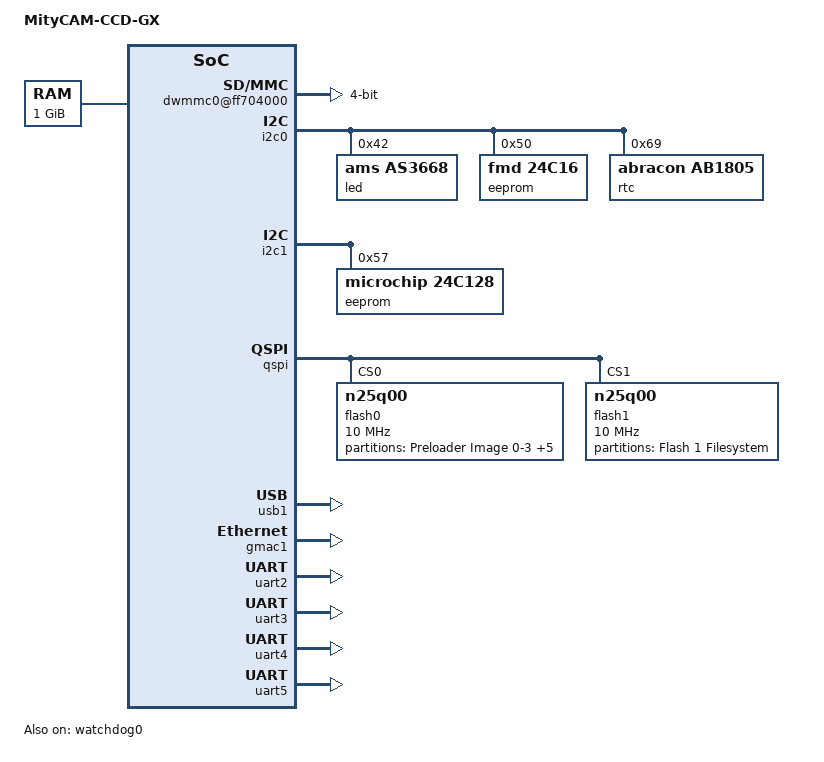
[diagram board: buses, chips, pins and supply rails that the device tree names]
/*
 *  Copyright (C) 2012 Altera Corporation <www.altera.com>
 *
 * This program is free software; you can redistribute it and/or modify
 * it under the terms of the GNU General Public License as published by
 * the Free Software Foundation; either version 2 of the License, or
 * (at your option) any later version.
 *
 * This program is distributed in the hope that it will be useful,
 * but WITHOUT ANY WARRANTY; without even the implied warranty of
 * MERCHANTABILITY or FITNESS FOR A PARTICULAR PURPOSE.  See the
 * GNU General Public License for more details.
 *
 * You should have received a copy of the GNU General Public License
 * along with this program.  If not, see <http://www.gnu.org/licenses/>.
 */

/dts-v1/;
#include "socfpga.dtsi"
#include <dt-bindings/interrupt-controller/irq.h>

/ {
	model = "MityCAM-CCD-GX";
	compatible = "cl,mitycam-battelle-g2", "altr,socfpga-cyclone5", "altr,socfpga";

	chosen {
		bootargs = "console=ttyS0,115200 root=/dev/mmcblk0p2 rw rootwait";
	};

	memory {
		name = "memory";
		device_type = "memory";
		reg = <0x0 0x40000000>; /* 1 GB */
	};

	aliases {
		/* this allow the ethaddr uboot environmnet variable contents
		 * to be added to the gmac1 device tree blob.
		 */
		ethernet0 = &gmac1;
	};

	soc {
		clkmgr@ffd04000 {
			clocks {
				osc1 {
					clock-frequency = <25000000>;
				};
			};
		};

		dwmmc0@ff704000 {
			num-slots = <1>;
			supports-highspeed;
			broken-cd;
			altr,dw-mshc-ciu-div = <3>;
			altr,dw-mshc-sdr-timing = <0 3>;
			bus-width = <4>;
			status = "okay";
		};

		i2c0: i2c@ffc04000 {
			speed-mode = <0>;
			status = "okay";
		};

		i2c1: i2c@ffc05000 {
			speed-mode = <0>;
			status = "okay";
		};

		qspi: spi@ff705000 {
			compatible = "cadence,qspi";
                        #address-cells = <1>;
			#size-cells = <0>;
			reg = <0xff705000 0x1000>,
				<0xffa00000 0x1000>;
			interrupts = <0 151 4>;
			master-ref-clk = <400000000>;
			ext-decoder = <0>;  /* external decoder */
			num-chipselect = <4>;
			fifo-depth = <128>;
			bus-num = <2>;

			flash0: n25q00@0 {
				#address-cells = <1>;
				#size-cells = <1>;
				compatible = "n25q00";
				reg = <0>;      /* chip select */
				spi-max-frequency = <10000000>;
				m25p,fast-read;
				page-size = <256>;
				block-size = <16>; /* 2^16, 64KB */
				read-delay = <4>;  /* delay value in read data capture register */
				tshsl-ns = <50>;
				tsd2d-ns = <50>;
				tchsh-ns = <4>;
				tslch-ns = <4>;

				partition@qspi-preloader {
					/* 64 KB for preloader image 0-3. */
					label = "Preloader Image 0-3";
					reg = <0x0 0x40000>;
				};
				partition@qspi-ubootenv {
					/* 64 KB for u-Boot Env. */
					label = "U-Boot Env";
					reg = <0x40000 0x10000>;
				};
				partition@qspi-dtb {
					/* 64 KB for DTB */
					label = "DTB";
					reg = <0x50000 0x10000>;
				};
				partition@qspi-uboot {
					/* 512 KB for U-Boot */
					label = "U-Boot";
					reg = <0x60000 0x80000>;
				};
				partition@qspi-kernel {
					/* 8 MB for Kernel */
					label = "Kernel";
					reg = <0xE0000 0x800000>;
				};
				partition@qspi-rootfs {
					/* 7.125 MB for jffs2 data. */
					label = "Flash 0 jffs2 Filesystem";
					reg = <0x8E0000 0x720000>;
				};
			};

			flash1: n25q00@1 {
				#address-cells = <1>;
				#size-cells = <1>;
				compatible = "n25q00";
				reg = <1>;      /* chip select */
				spi-max-frequency = <10000000>;
				m25p,fast-read;
				page-size = <256>;
				block-size = <16>; /* 2^16, 64KB */
				read-delay = <4>;  /* delay value in read data capture register */
				tshsl-ns = <50>;
				tsd2d-ns = <50>;
				tchsh-ns = <4>;
				tslch-ns = <4>;

				partition@0 {
					/* 16MB for raw data. */
					label = "Flash 1 Filesystem";
					reg = <0x0 0x1000000>;
				};
			};
		};

		timer0@ffc08000 {
			clock-frequency = <100000000>;
		};

		timer1@ffc09000 {
			clock-frequency = <100000000>;
		};

		timer2@ffd00000 {
			clock-frequency = <25000000>;
		};

		timer3@ffd01000 {
			clock-frequency = <25000000>;
		};

		serial0@ffc02000 {
			clock-frequency = <100000000>;
		};

		serial1@ffc03000 {
			clock-frequency = <100000000>;
		};

		sysmgr@ffd08000 {
			cpu1-start-addr = <0xffd080c4>;
		};

		usb1: usb@ffb40000 {
			compatible = "snps,dwc2-vbus-ext";
			status = "okay";
		};

		gpio@ff708000 {
			/* HPS_GPIO0 -> HPS_GPIO28*/
			status = "okay";
		};

		gpio@ff709000 {
			/* HPS_GPIO29 -> HPS_GPIO57 */
			status = "okay";
			portb: gpio-controller@0 {
				gpio-line-names = "", "", "", "", "", "", "", "", "", "", "", "", "", "", "", "", "", "", "", "", "", "" /* DISABLED - TECDIR_COOL_HEATN HPS_GPIO50 */;
			};
		};

		gpio@ff70a000 {
			/* HPS_GPI0 -> HPS_GPI13, GPS_GPIO58 -> HPS_GPIO66 */
			status = "okay";
		};

		streamer0: streamer@20000000 {
			compatible = "uio,irq";
			interrupts = <0 41 4>;
		};

		gmac1: ethernet@ff702000 {
			status = "okay";
		};

		hps_lw_bus: bus@0ff200000 {
			compatible = "simple-bus";
			reg = <0xFF200000 0x00200000>;
			#address-cells = <1>;
			#size-cells = <1>;
			ranges = <0x0 0xFF200000 0x00200000>;
			status = "okay";

			sysid_qsys: sysid@0000 {
				compatible = "altr,sysid-1.0";
				reg = <0x000000 0x08>;
			};

			/* lct237816_input @01000, managed in userspace */
			/* row_adjust      @06000, managed in userspace */
			/* stream_to_sdram @08000, managed in userspace */

			gpio3: gpio@B000 {
				compatible = "cl,camio-1.0";
				reg = <0x0000B000 0x20>;
				interrupts = <0 40 4>;
				virtual_irq_start = <342>;
				interrupt-controller;
				#interrupt-cells = <2>;
				gpio-controller;
				#gpio-cells = <2>;
				gpio-line-names = "CAMIO1", "CAMIO2", "CAMIO3", "CAMIO4";
			};

			/* pixel_shift    @0e000, managed in userspace */
			/* adc_clkout_pll @0f000, managed in userspace */
			/* flipx          @11000, managed in userspace */
			/* timing_gen     @12000, managed in userspace */
			/* trigger_gen    @13000, managed in userspace */

			pio_0: gpio@14000 {
				compatible = "altr,pio-1.0";
				reg = <0x00014000 0x20>;
				interrupts = <0 43 4>; 
				altr,gpio-bank-width = <32>;
				altr,interrupt-type = <IRQ_TYPE_EDGE_RISING>;
				#gpio-cells = <1>;
				gpio-controller;
				#interrupt-cells = <1>;
				interrupt-controller;
				gpio-line-names = "CCD_IDLE", "GAIN", "FILTERSEL", "CLKOUT_PLL_LOCKED", "RXCLK_PLL_LOCKED", "ADC_TEST_PAT", "", "",
						  "CAMIN1", "CAMIN2", "CAMIN3", "CAMOUT1", "CAMOUT2", "CAMOUT3", "CAMOUT4", "CAMOUT5";
			};

			uart2: serial2@15000 {
				compatible = "altr,uart-1.0";
				reg = <0x00015000 0x20>;
				interrupts = <0 44 4>;
				clock-frequency = <100000000>;
				status = "okay";
			};

			uart3: serial3@16000 {
				compatible = "altr,uart-1.0";
				reg = <0x00016000 0x20>;
				interrupts = <0 45 4>;
				clock-frequency = <100000000>;
				status = "okay";
			};

			uart4: serial4@17000 {
				compatible = "altr,uart-1.0";
				reg = <0x00017000 0x20>;
				interrupts = <0 46 4>;
				clock-frequency = <100000000>;
				status = "okay";
			};

			uart5: serial5@18000 {
				compatible = "altr,uart-1.0";
				reg = <0x00018000 0x20>;
				interrupts = <0 47 4>;
				clock-frequency = <100000000>;
				status = "okay";
			};

			sldhub: debugger@20000 {
				#address-cells = <1>;
				#size-cells = <1>;
				compatible = "altr,mm-debug-link-1.0";
				reg = <0x00020000 0x80>;
			};
		};
	};

};

&watchdog0 {
	status = "okay";
};

&i2c0 {
	/* on SOM */
	led@42 {
		device_type = "led";
		compatible = "ams,as3668";
		reg = <0x42>;
	};
	/* on SOM */
	eeprom@50 {
		compatible = "fmd,24c16";
		reg = <0x50>;
	};
	/* on SOM */
	rtc@69 {
		device_type = "rtc";
		compatible = "abracon,ab1805";
		reg = <0x69>;
	};
};

&i2c1 {
	eeprom@57 {
		compatible = "microchip,24c128";
		reg = <0x57>;
	};
};

